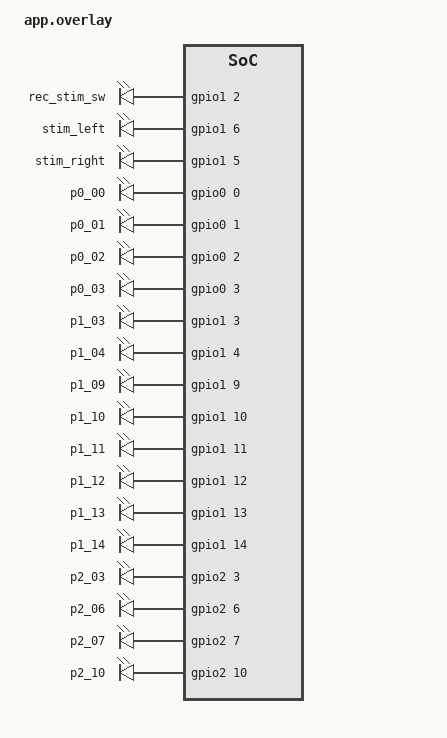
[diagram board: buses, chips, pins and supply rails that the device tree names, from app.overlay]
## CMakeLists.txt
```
cmake_minimum_required(VERSION 3.20.0)
list(APPEND BOARD_ROOT ${CMAKE_CURRENT_SOURCE_DIR}/../)
find_package(Zephyr REQUIRED HINTS $ENV{ZEPHYR_BASE})

project(grompack_firmware)

target_sources(app PRIVATE src/main.c src/timer.c src/saadc.c src/gppi.c src/ble.c src/stimulation.c src/commands.c src/config.c)
```

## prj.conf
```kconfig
CONFIG_REBOOT=y
CONFIG_POWEROFF=y
CONFIG_HEAP_MEM_POOL_SIZE=24576
CONFIG_GPIO=y
CONFIG_LOG=n
CONFIG_CONSOLE=n
CONFIG_UART_CONSOLE=n
CONFIG_RTT_CONSOLE=n
CONFIG_USE_SEGGER_RTT=n
CONFIG_SERIAL=n
CONFIG_MAIN_THREAD_PRIORITY=8

CONFIG_NRFX_PWM=y
CONFIG_NRFX_SAADC=y
CONFIG_NRFX_GPPI=y
CONFIG_NRFX_TIMER=y

CONFIG_BT=y
CONFIG_BT_PERIPHERAL=y
CONFIG_BT_DEVICE_NAME="grompack"
CONFIG_BT_NUS=y
CONFIG_BT_L2CAP_TX_MTU=247
CONFIG_BT_BUF_ACL_TX_SIZE=251
CONFIG_BT_BUF_ACL_RX_SIZE=251
CONFIG_BT_CTLR_DATA_LENGTH_MAX=251
CONFIG_BT_ZEPHYR_NUS=y
CONFIG_BT_USER_PHY_UPDATE=y
CONFIG_BT_USER_DATA_LEN_UPDATE=y
CONFIG_BT_PERIPHERAL_PREF_MIN_INT=6
CONFIG_BT_PERIPHERAL_PREF_MAX_INT=9
CONFIG_BT_CTLR_PHY_2M=y
CONFIG_BT_PERIPHERAL_PREF_LATENCY=0
CONFIG_BT_PERIPHERAL_PREF_TIMEOUT=200
CONFIG_BT_BUF_ACL_TX_COUNT=16
CONFIG_BT_CONN_TX_MAX=16
CONFIG_BT_ATT_TX_COUNT=16
CONFIG_BT_L2CAP_TX_BUF_COUNT=20
CONFIG_BT_BUF_EVT_RX_COUNT=20
CONFIG_BT_HCI_VS=y
CONFIG_BT_CTLR_TX_PWR_DYNAMIC_CONTROL=y
```

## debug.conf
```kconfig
CONFIG_REBOOT=y
CONFIG_POWEROFF=y
CONFIG_HEAP_MEM_POOL_SIZE=4096
CONFIG_GPIO=y
CONFIG_LOG=y
CONFIG_USE_SEGGER_RTT=y
CONFIG_LOG_BACKEND_RTT=y
CONFIG_LOG_BACKEND_UART=n
CONFIG_LOG_MODE_IMMEDIATE=y
CONFIG_RTT_CONSOLE=y
CONFIG_CONSOLE=y
CONFIG_PRINTK=y

CONFIG_NRFX_PWM=y
CONFIG_NRFX_SAADC=y
CONFIG_NRFX_GPPI=y
CONFIG_NRFX_TIMER=y

CONFIG_BT=y
CONFIG_BT_PERIPHERAL=y
CONFIG_BT_DEVICE_NAME="grompack"
CONFIG_BT_NUS=y
CONFIG_BT_L2CAP_TX_MTU=247
CONFIG_BT_BUF_ACL_TX_SIZE=251
CONFIG_BT_BUF_ACL_RX_SIZE=251
CONFIG_BT_CTLR_DATA_LENGTH_MAX=251
CONFIG_BT_ZEPHYR_NUS=y
CONFIG_BT_USER_PHY_UPDATE=y
CONFIG_BT_USER_DATA_LEN_UPDATE=y
CONFIG_BT_ATT_TX_COUNT=4
CONFIG_BT_CONN_TX_MAX=10
CONFIG_BT_PERIPHERAL_PREF_MIN_INT=24
CONFIG_BT_PERIPHERAL_PREF_MAX_INT=32
CONFIG_BT_CTLR_PHY_2M=y
CONFIG_BT_PERIPHERAL_PREF_LATENCY=10
CONFIG_BT_PERIPHERAL_PREF_TIMEOUT=400
CONFIG_BT_L2CAP_TX_BUF_COUNT=10
```

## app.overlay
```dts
#include <zephyr/dt-bindings/gpio/gpio.h>

/ {
    module_gpios {
        compatible = "gpio-leds";
        rec_stim_sw: rec_stim_sw { gpios = <&gpio1 2 GPIO_ACTIVE_HIGH>; };
        stim_left: stim_left { gpios = <&gpio1 6 GPIO_ACTIVE_HIGH>; };
        stim_right: stim_right { gpios = <&gpio1 5 GPIO_ACTIVE_HIGH>; };

        p0_00: p0_00 { gpios = <&gpio0 0 GPIO_ACTIVE_HIGH>; };
        p0_01: p0_01 { gpios = <&gpio0 1 GPIO_ACTIVE_HIGH>; };
        p0_02: p0_02 { gpios = <&gpio0 2 GPIO_ACTIVE_HIGH>; };
        p0_03: p0_03 { gpios = <&gpio0 3 GPIO_ACTIVE_HIGH>; };

        p1_03: p1_03 { gpios = <&gpio1 3 GPIO_ACTIVE_HIGH>; };
        p1_04: p1_04 { gpios = <&gpio1 4 GPIO_ACTIVE_HIGH>; };

        p1_09: p1_09 { gpios = <&gpio1 9 GPIO_ACTIVE_HIGH>; };
        p1_10: p1_10 { gpios = <&gpio1 10 GPIO_ACTIVE_HIGH>; };
        p1_11: p1_11 { gpios = <&gpio1 11 GPIO_ACTIVE_HIGH>; };
        p1_12: p1_12 { gpios = <&gpio1 12 GPIO_ACTIVE_HIGH>; };
        p1_13: p1_13 { gpios = <&gpio1 13 GPIO_ACTIVE_HIGH>; };
        p1_14: p1_14 { gpios = <&gpio1 14 GPIO_ACTIVE_HIGH>; };

        p2_03: p2_03 { gpios = <&gpio2 3 GPIO_ACTIVE_HIGH>; };
        p2_06: p2_06 { gpios = <&gpio2 6 GPIO_ACTIVE_HIGH>; };
        p2_07: p2_07 { gpios = <&gpio2 7 GPIO_ACTIVE_HIGH>; };
        p2_10: p2_10 { gpios = <&gpio2 10 GPIO_ACTIVE_HIGH>;};

    };
};

&gpiote20 {
    status = "okay";
};

&gpiote30 {
    status = "okay";
};


&gpio0 {
    status = "okay";
};

&gpio1 {
    status = "okay";
};

&gpio2 {
    status = "okay";
};
```

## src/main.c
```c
#include <zephyr/kernel.h>
#include <zephyr/logging/log.h>

#include "peripherals.h"

LOG_MODULE_REGISTER(grompack_logger, LOG_LEVEL_DBG);
K_MEM_SLAB_DEFINE(ble_payload_slab, sizeof(struct neural_packet), 240, 4);
K_FIFO_DEFINE(ble_pointer_fifo);
K_MSGQ_DEFINE(command_queue, sizeof(uint8_t), 10, 4);
K_THREAD_DEFINE(command_thread_id, 1024, command_thread_entry, NULL, NULL, NULL,
                7, 0, 0);

int main(void) {
    int err;

    setup_unused_pins();
    configure_stimulation();
    configure_timer();
    configure_saadc();
    configure_ppi();
    configure_ble();

    struct neural_packet* tx_packet;

    while (1) {
        tx_packet = k_fifo_get(&ble_pointer_fifo, K_FOREVER);

        if (is_laptop_subscribed) {
            err = bt_nus_send(NULL, (uint8_t*)&tx_packet->sample_index,
                              sizeof(uint32_t) + PACKED_BUFFER_SIZE);

            if (err == -ENOMEM) {
                LOG_WRN("TX queue full, dropping packet (sample %u)",
                        tx_packet->sample_index);
            } else if (err != 0 && err != -EAGAIN) {
                LOG_ERR("bt_nus_send fatal error: %d", err);
            }
        }

        k_mem_slab_free(&ble_payload_slab, (void*)tx_packet);
    }
}
```

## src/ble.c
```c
#include <zephyr/bluetooth/bluetooth.h>
#include <zephyr/bluetooth/hci.h>
#include <zephyr/bluetooth/hci_vs.h>
#include <zephyr/bluetooth/services/nus.h>
#include <zephyr/kernel.h>
#include <zephyr/logging/log.h>

#include "peripherals.h"

LOG_MODULE_DECLARE(grompack_logger, LOG_LEVEL_DBG);

#define DEVICE_NAME CONFIG_BT_DEVICE_NAME
#define DEVICE_NAME_LEN (sizeof(DEVICE_NAME) - 1)

volatile bool is_laptop_subscribed = false;

extern struct k_msgq command_queue;

static struct k_work adv_work;

static const struct bt_data ad[] = {
    BT_DATA_BYTES(BT_DATA_FLAGS, (BT_LE_AD_GENERAL | BT_LE_AD_NO_BREDR)),
    BT_DATA(BT_DATA_NAME_COMPLETE, DEVICE_NAME, DEVICE_NAME_LEN),
};

static const struct bt_data sd[] = {
    BT_DATA_BYTES(BT_DATA_UUID128_ALL, BT_UUID_NUS_SRV_VAL),
};

static void adv_work_handler(struct k_work* work) {
    int err =
        bt_le_adv_start(BT_LE_ADV_PARAM(BT_LE_ADV_OPT_CONN, 800, 800, NULL), ad,
                        ARRAY_SIZE(ad), sd, ARRAY_SIZE(sd));
    if (err) {
        LOG_ERR("Failed to restart advertising (err %d)", err);
    } else {
        LOG_INF("Advertising successfully restarted.");
    }
}

static void notif_enabled(bool enabled, void* ctx) {
    ARG_UNUSED(ctx);
    LOG_INF("Laptop Subscription: %s", (enabled ? "Enabled" : "Disabled"));

    is_laptop_subscribed = enabled;

    if (!enabled) {
        uint8_t stop_cmd = 0x02;
        k_msgq_put(&command_queue, &stop_cmd, K_NO_WAIT);
    }
}

static void received(struct bt_conn* conn, const void* data, uint16_t len,
                     void* ctx) {
    ARG_UNUSED(conn);
    ARG_UNUSED(ctx);

    if (len == 0) return;

    uint8_t command = ((const uint8_t*)data)[0];

    LOG_INF("command received: 0x%02x", command);

    k_msgq_put(&command_queue, &command, K_NO_WAIT);
}

struct bt_nus_cb nus_listener = {
    .notif_enabled = notif_enabled,
    .received = received,
};

static void set_tx_power(uint8_t handle_type, uint16_t handle, int8_t dbm) {
    struct bt_hci_cp_vs_write_tx_power_level* cp;
    struct net_buf *buf, *rsp = NULL;
    int err;

    buf = bt_hci_cmd_alloc(K_FOREVER);

    if (!buf) {
        LOG_ERR("Failed to create HCI cmd buffer");
        return;
    }

    cp = net_buf_add(buf, sizeof(*cp));
    cp->handle_type = handle_type;
    cp->handle = handle;
    cp->tx_power_level = dbm;

    err = bt_hci_cmd_send_sync(BT_HCI_OP_VS_WRITE_TX_POWER_LEVEL, buf, &rsp);

    if (err) {
        LOG_ERR("TX power set failed (err %d)", err);
    } else {
        LOG_INF("TX power set to %d dBm (handle_type=%d)", dbm, handle_type);
    }

    if (rsp) {
        net_buf_unref(rsp);
    }
}

void configure_ble(void) {
    int err;

    k_work_init(&adv_work, adv_work_handler);

    err = bt_enable(NULL);
    if (err) {
        LOG_ERR("BLE init failed (err %d)", err);
        return;
    }

    set_tx_power(BT_HCI_VS_LL_HANDLE_TYPE_ADV, 0, -20);

    err = bt_nus_cb_register(&nus_listener, NULL);
    if (err) {
        LOG_ERR("NUS callbacks failed to register (err %d)", err);
        return;
    }

    err = bt_le_adv_start(BT_LE_ADV_PARAM(BT_LE_ADV_OPT_CONN, 800, 800, NULL),
                          ad, ARRAY_SIZE(ad), sd, ARRAY_SIZE(sd));

    if (err) {
        LOG_ERR("Advertising failed to start (err %d)", err);
        return;
    }

    LOG_INF("Bluetooth initialized and advertising successfully.");
}

static void on_connected(struct bt_conn* conn, uint8_t err) {
    if (err) {
        LOG_ERR("Connection failed, err 0x%02x", err);
        return;
    }
    LOG_INF("Connected! 0x%02x", err);

    uint16_t hci_handle;
    int hci_err = bt_hci_get_conn_handle(conn, &hci_handle);

    if (hci_err == 0) {
        set_tx_power(BT_HCI_VS_LL_HANDLE_TYPE_CONN, hci_handle, -20);
    } else {
        LOG_WRN("Failed to get HCI handle for TX power adjustment");
    }

    bt_conn_le_data_len_update(conn, BT_LE_DATA_LEN_PARAM_MAX);
    bt_conn_le_phy_update(conn, BT_CONN_LE_PHY_PARAM_2M);
}

static void on_disconnected(struct bt_conn* conn, uint8_t reason) {
    LOG_INF("Disconnected, reason 0x%02x", reason);

    is_laptop_subscribed = false;

    uint8_t stop_cmd = 0x02;
    k_msgq_put(&command_queue, &stop_cmd, K_NO_WAIT);

    k_work_submit(&adv_work);
}

BT_CONN_CB_DEFINE(conn_callbacks) = {
    .connected = on_connected,
    .disconnected = on_disconnected,
};
```

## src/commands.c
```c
#include <zephyr/kernel.h>
#include <zephyr/logging/log.h>

#include "peripherals.h"

LOG_MODULE_DECLARE(grompack_logger, LOG_LEVEL_DBG);

void command_thread_entry(void* param1, void* param2, void* param3) {
    ARG_UNUSED(param1);
    ARG_UNUSED(param2);
    ARG_UNUSED(param3);

    uint8_t incoming_command;

    while (1) {
        if (k_msgq_get(&command_queue, &incoming_command, K_FOREVER) == 0) {
            LOG_INF("Processing command: 0x%02x", incoming_command);
            switch (incoming_command) {
                case 0x01:
                    LOG_INF("start data collection");
                    start_hardware_pipeline();
                    break;
                case 0x02:
                    LOG_INF("stop data collection");
                    stop_hardware_pipeline();
                    break;
                case 0x03:
                    LOG_INF("turn on pwm continuous");
                    set_stimulation_continuous(true);
                    break;
                case 0x04:
                    LOG_INF("turn off pwm continous");
                    set_stimulation_continuous(false);
                    break;
                case 0x05:
                    LOG_INF("set pwm burst");
                    uint32_t time = 3;
                    uint32_t frequency = 1000;
                    set_stimulation_burst(time, frequency);
                    break;
                case 0x06:
                    LOG_INF("power off");
                    system_off();
                    break;
                default:
                    LOG_WRN("Unknown command received: 0x%02x",
                            incoming_command);
            }
        }
    }
}
```

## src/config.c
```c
#include <zephyr/drivers/gpio.h>
#include <zephyr/kernel.h>
#include <zephyr/logging/log.h>
#include <zephyr/sys/poweroff.h>

#include "peripherals.h"

LOG_MODULE_DECLARE(grompack_logger, LOG_LEVEL_DBG);

const struct device* gpio0 = DEVICE_DT_GET(DT_NODELABEL(gpio0));
const struct device* gpio1 = DEVICE_DT_GET(DT_NODELABEL(gpio1));
const struct device* gpio2 = DEVICE_DT_GET(DT_NODELABEL(gpio2));

void setup_unused_pins(void) {
    if (!device_is_ready(gpio0) || !device_is_ready(gpio1) ||
        !device_is_ready(gpio2)) {
        return;
    }

    gpio_pin_configure(gpio0, 0, GPIO_DISCONNECTED);
    gpio_pin_configure(gpio0, 1, GPIO_DISCONNECTED);
    gpio_pin_configure(gpio0, 2, GPIO_DISCONNECTED);
    gpio_pin_configure(gpio0, 3, GPIO_DISCONNECTED);

    gpio_pin_configure(gpio1, 2, GPIO_DISCONNECTED);
    gpio_pin_configure(gpio1, 3, GPIO_DISCONNECTED);
    gpio_pin_configure(gpio1, 4, GPIO_DISCONNECTED);
    gpio_pin_configure(gpio1, 9, GPIO_DISCONNECTED);
    gpio_pin_configure(gpio1, 10, GPIO_DISCONNECTED);
    gpio_pin_configure(gpio1, 11, GPIO_DISCONNECTED);
    gpio_pin_configure(gpio1, 12, GPIO_DISCONNECTED);
    gpio_pin_configure(gpio1, 13, GPIO_DISCONNECTED);
    gpio_pin_configure(gpio1, 14, GPIO_DISCONNECTED);

    gpio_pin_configure(gpio2, 3, GPIO_DISCONNECTED);
    gpio_pin_configure(gpio2, 6, GPIO_DISCONNECTED);
    gpio_pin_configure(gpio2, 7, GPIO_DISCONNECTED);
    gpio_pin_configure(gpio2, 10, GPIO_DISCONNECTED);
}

void system_off(void) {
    LOG_INF("Power off ...");
    sys_poweroff();
}
```

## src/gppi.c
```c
#include <helpers/nrfx_gppi.h>
#include <nrfx_saadc.h>
#include <nrfx_timer.h>
#include <zephyr/kernel.h>
#include <zephyr/logging/log.h>

#include "peripherals.h"

LOG_MODULE_DECLARE(grompack_logger, LOG_LEVEL_DBG);

void configure_ppi(void) {
    int err;

    nrfx_gppi_handle_t gppi_handle_sample;
    nrfx_gppi_handle_t gppi_handle_start;

    err = nrfx_gppi_conn_alloc(
        nrfx_timer_compare_event_address_get(&timer_instance,
                                             NRF_TIMER_CC_CHANNEL0),
        nrf_saadc_task_address_get(NRF_SAADC, NRF_SAADC_TASK_SAMPLE),
        &gppi_handle_sample);
    if (err != 0) {
        LOG_ERR("nrfx_gppi_conn_alloc error: %08x", err);
        return;
    }

    err = nrfx_gppi_conn_alloc(
        nrf_saadc_event_address_get(NRF_SAADC, NRF_SAADC_EVENT_END),
        nrf_saadc_task_address_get(NRF_SAADC, NRF_SAADC_TASK_START),
        &gppi_handle_start);
    if (err != 0) {
        LOG_ERR("nrfx_gppi_conn_alloc error: %08x", err);
        return;
    }

    nrfx_gppi_conn_enable(gppi_handle_sample);
    nrfx_gppi_conn_enable(gppi_handle_start);
}
```

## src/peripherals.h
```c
#ifndef PERIPHERALS_H
#define PERIPHERALS_H

#include <nrfx_timer.h>
#include <stdbool.h>
#include <zephyr/bluetooth/services/nus.h>
#include <zephyr/kernel.h>

#define PACKED_BUFFER_SIZE 240

#define SAADC_SAMPLE_INTERVAL_US 83
#define SAADC_BUFFER_SIZE 160
#define SAADC_INPUT_PIN_0 NRFX_ANALOG_EXTERNAL_AIN4
#define SAADC_INPUT_PIN_1 NRFX_ANALOG_EXTERNAL_AIN5
#define SAADC_TIMER_INST_IDX 20
#define PWM_INST_IDX 20
#define NRF54_SAADC_ACQTIME_US(us) (((us * 1000) / 125) - 1)

#define STIM_LEFT_NODE DT_NODELABEL(stim_left)
#define STIM_LEFT_PORT DT_PROP(DT_GPIO_CTLR(STIM_LEFT_NODE, gpios), port)
#define STIM_LEFT_PIN DT_GPIO_PIN(STIM_LEFT_NODE, gpios)

#define STIM_LEFT_ABS_PIN ((STIM_LEFT_PORT * 32) + STIM_LEFT_PIN)

#define STIM_RIGHT_NODE DT_NODELABEL(stim_right)
#define STIM_RIGHT_PORT DT_PROP(DT_GPIO_CTLR(STIM_RIGHT_NODE, gpios), port)
#define STIM_RIGHT_PIN DT_GPIO_PIN(STIM_RIGHT_NODE, gpios)

#define STIM_RIGHT_ABS_PIN ((STIM_RIGHT_PORT * 32) + STIM_RIGHT_PIN)

extern nrfx_timer_t timer_instance;

struct neural_packet {
    void* fifo_reserved;
    uint32_t sample_index;
    uint8_t packed_data[PACKED_BUFFER_SIZE];
} __packed;

extern struct k_fifo ble_pointer_fifo;
extern struct k_mem_slab ble_payload_slab;
extern struct k_msgq command_queue;

extern volatile bool is_laptop_subscribed;

void setup_unused_pins(void);
void system_off(void);
void configure_stimulation(void);
void configure_ble(void);
void command_thread_entry(void* param1, void* param2, void* param3);
void configure_timer(void);
void configure_saadc(void);
void configure_ppi(void);
void start_hardware_pipeline(void);
void stop_hardware_pipeline(void);
void purge_pipeline(void);
void set_stimulation_continuous(bool start_pwm);
void set_stimulation_burst(uint32_t duration_ms, uint32_t frequency_hz);

#endif
```

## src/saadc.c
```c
#include <nrfx_saadc.h>
#include <zephyr/kernel.h>
#include <zephyr/logging/log.h>

#include "peripherals.h"

LOG_MODULE_DECLARE(grompack_logger, LOG_LEVEL_DBG);

static struct neural_packet* current_tx_packet = NULL;
static uint16_t byte_fill_count = 0;
static uint32_t global_sample_counter = 0;

static nrfx_saadc_channel_t channels[2] = {
    NRFX_SAADC_DEFAULT_CHANNEL_SE(SAADC_INPUT_PIN_0, 0),
    NRFX_SAADC_DEFAULT_CHANNEL_SE(SAADC_INPUT_PIN_1, 1)};

static int16_t saadc_sample_buffer[2][SAADC_BUFFER_SIZE];

static uint32_t saadc_current_buffer = 0;

void purge_pipeline(void) {
    if (current_tx_packet != NULL) {
        k_mem_slab_free(&ble_payload_slab, (void*)current_tx_packet);
        current_tx_packet = NULL;
    }

    byte_fill_count = 0;

    struct neural_packet* stale_packet;
    while ((stale_packet = k_fifo_get(&ble_pointer_fifo, K_NO_WAIT)) != NULL) {
        k_mem_slab_free(&ble_payload_slab, (void*)stale_packet);
    }

    LOG_INF("Pipeline flushed and memory returned to slab.");
}

void stop_hardware_pipeline(void) {
    LOG_INF("Halting hardware pipeline...");

    nrfx_timer_disable(&timer_instance);
    nrfx_timer_clear(&timer_instance);

    k_busy_wait(500);
    nrfx_saadc_abort();
    k_busy_wait(200);

    purge_pipeline();
}

void start_hardware_pipeline(void) {
    LOG_INF("Booting hardware pipeline...");

    global_sample_counter = 0;
    saadc_current_buffer = 0;
    byte_fill_count = 0;

    nrfx_saadc_buffer_set(saadc_sample_buffer[0], SAADC_BUFFER_SIZE);
    nrfx_saadc_buffer_set(saadc_sample_buffer[1], SAADC_BUFFER_SIZE);

    nrfx_saadc_mode_trigger();

    nrfx_timer_enable(&timer_instance);
}

static void saadc_event_handler(nrfx_saadc_evt_t const* p_event) {
    int err;
    switch (p_event->type) {
        case NRFX_SAADC_EVT_READY:
            break;

        case NRFX_SAADC_EVT_BUF_REQ:
            err = nrfx_saadc_buffer_set(
                saadc_sample_buffer[(saadc_current_buffer++) % 2],
                SAADC_BUFFER_SIZE);
            if (err != 0) {
                LOG_ERR("nrfx_saadc_buffer_set error: %08x", err);
                return;
            }
            break;
        case NRFX_SAADC_EVT_DONE: {
            if (current_tx_packet == NULL) {
                if (k_mem_slab_alloc(&ble_payload_slab,
                                     (void**)&current_tx_packet,
                                     K_NO_WAIT) != 0) {
                    global_sample_counter += (SAADC_BUFFER_SIZE / 2);
                    break;
                }
            }

            current_tx_packet->sample_index = global_sample_counter;

            int16_t* raw_data = (int16_t*)(p_event->data.done.p_buffer);

            for (int i = 0; i < (SAADC_BUFFER_SIZE / 2); i++) {
                uint16_t sample1 = (uint16_t)raw_data[i * 2] & 0x0FFF;
                uint16_t sample2 = (uint16_t)raw_data[i * 2 + 1] & 0x0FFF;

                current_tx_packet->packed_data[byte_fill_count++] =
                    sample1 & 0xFF;
                current_tx_packet->packed_data[byte_fill_count++] =
                    ((sample1 >> 8) & 0x0F) | ((sample2 << 4) & 0xF0);
                current_tx_packet->packed_data[byte_fill_count++] =
                    (sample2 >> 4) & 0xFF;

                global_sample_counter++;

                if (byte_fill_count >= PACKED_BUFFER_SIZE) {
                    k_fifo_put(&ble_pointer_fifo, current_tx_packet);
                    current_tx_packet = NULL;
                    byte_fill_count = 0;
                }
            }
            break;
        }
        default:
            LOG_INF("saadc_event_handler default state");
            break;
    }
}

void configure_saadc(void) {
    int err;

    IRQ_CONNECT(NRFX_IRQ_NUMBER_GET(NRF_SAADC), IRQ_PRIO_LOWEST,
                nrfx_saadc_irq_handler, 0, 0);

    err = nrfx_saadc_init(NRFX_SAADC_DEFAULT_CONFIG_IRQ_PRIORITY);
    if (err != 0) {
        LOG_ERR("nrfx_saadc_init error: %08x", err);
        return;
    }

    channels[0].channel_config.gain = NRF_SAADC_GAIN1;
    channels[0].channel_config.acq_time = NRF54_SAADC_ACQTIME_US(3);
    channels[1].channel_config.gain = NRF_SAADC_GAIN1;
    channels[1].channel_config.acq_time = NRF54_SAADC_ACQTIME_US(3);

    err = nrfx_saadc_channels_config(channels, 2);
    if (err != 0) {
        LOG_ERR("nrfx_saadc_channels_config error: %08x", err);
        return;
    }

    nrfx_saadc_adv_config_t saadc_adv_config = NRFX_SAADC_DEFAULT_ADV_CONFIG;
    saadc_adv_config.oversampling = NRF_SAADC_OVERSAMPLE_4X;
    saadc_adv_config.burst = NRF_SAADC_BURST_ENABLED;

    err = nrfx_saadc_advanced_mode_set(BIT(0) | BIT(1),
                                       NRF_SAADC_RESOLUTION_12BIT,
                                       &saadc_adv_config, saadc_event_handler);

    if (err != 0) {
        LOG_ERR("nrfx_saadc_advanced_mode_set error: %08x", err);
        return;
    }
}
```

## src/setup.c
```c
// #include <zephyr/drivers/gpio.h>
// #include <zephyr/kernel.h>
// #include <zephyr/logging/log.h>

// #include "peripherals.h"

// LOG_MODULE_DECLARE(grompack_logger, LOG_LEVEL_DBG);

// static const struct gpio_dt_spec p0_00 =
//     GPIO_DT_SPEC_GET(DT_NODELABEL(p0_00), gpios);

// void setup(void) {
//     int err;

//     const struct device* p0_00 = DEVICE_DT_GET(DT_NODELABEL(p0_00));
//     const struct device* p0_00 = DEVICE_DT_GET(DT_NODELABEL(p0_00));
//     const struct device* p0_00 = DEVICE_DT_GET(DT_NODELABEL(p0_00));
//     const struct device* p0_00 = DEVICE_DT_GET(DT_NODELABEL(p0_00));
//     const struct device* p0_00 = DEVICE_DT_GET(DT_NODELABEL(p0_00));

//     if (!gpio_is_ready_dt(&rec_stim_sw)) {
//         LOG_INF("REC_STIM_SW GPIO not ready");
//     }
// }
```

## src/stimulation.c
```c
#include <nrfx_pwm.h>
#include <stdbool.h>
#include <zephyr/drivers/gpio.h>
#include <zephyr/kernel.h>
#include <zephyr/logging/log.h>

#include "peripherals.h"

LOG_MODULE_DECLARE(grompack_logger, LOG_LEVEL_DBG);

static const struct gpio_dt_spec rec_stim_sw =
    GPIO_DT_SPEC_GET(DT_NODELABEL(rec_stim_sw), gpios);

static const struct gpio_dt_spec stim_right =
    GPIO_DT_SPEC_GET(DT_NODELABEL(stim_right), gpios);

static const struct gpio_dt_spec stim_left =
    GPIO_DT_SPEC_GET(DT_NODELABEL(stim_left), gpios);

static nrfx_pwm_t pwm_instance =
    NRFX_PWM_INSTANCE(NRF_PWM_INST_GET(PWM_INST_IDX));

static nrf_pwm_values_common_t seq_values[] = {500};

static nrf_pwm_sequence_t seq = {.values.p_common = seq_values,
                                 .length = NRFX_ARRAY_SIZE(seq_values),
                                 .repeats = 0,
                                 .end_delay = 0};

static void pwm_event_handler(nrfx_pwm_event_type_t event_type,
                              void* p_context) {
    if (event_type == NRFX_PWM_EVENT_STOPPED) {
        gpio_pin_set_dt(&rec_stim_sw, 0);
        LOG_INF("PWM Burst complete, switch pulled low.");
    }
}

void set_stimulation_continuous(bool start_pwm) {
    if (start_pwm) {
        gpio_pin_configure_dt(&rec_stim_sw, GPIO_OUTPUT_HIGH);
        nrfx_pwm_simple_playback(&pwm_instance, &seq, 1, NRFX_PWM_FLAG_LOOP);
        LOG_INF("Stimulation PWM Started");
    } else {
        nrfx_pwm_stop(&pwm_instance, false);
        gpio_pin_configure_dt(&rec_stim_sw, GPIO_OUTPUT_LOW);
        LOG_INF("Stimulation PWM Stopped");
    }
}

void set_stimulation_burst(uint32_t duration_ms, uint32_t frequency_hz) {
    uint16_t top_value = 1000000 / frequency_hz;
    seq_values[0] = top_value / 2;

    nrf_pwm_configure(pwm_instance.p_reg, NRF_PWM_CLK_1MHz, NRF_PWM_MODE_UP,
                      top_value);

    uint32_t total_cycles = (frequency_hz * duration_ms) / 1000;

    LOG_INF("Starting PWM Burst: %u ms at %u Hz (%u cycles)", duration_ms,
            frequency_hz, total_cycles);

    gpio_pin_set_dt(&rec_stim_sw, 1);

    nrfx_pwm_simple_playback(&pwm_instance, &seq, total_cycles,
                             NRFX_PWM_FLAG_STOP);
}

void configure_stimulation(void) {
    int err;

    if (!gpio_is_ready_dt(&rec_stim_sw) || !gpio_is_ready_dt(&stim_right) ||
        !gpio_is_ready_dt(&stim_left)) {
        LOG_ERR("One or more stimulation GPIOs not ready");
        return;
    }

    err = gpio_pin_configure_dt(&rec_stim_sw, GPIO_OUTPUT_INACTIVE);
    if (err < 0) {
        LOG_ERR("REC_STIM_SW GPIO config error (%d)", err);
    }

    nrfx_pwm_config_t config = NRFX_PWM_DEFAULT_CONFIG(
        STIM_LEFT_ABS_PIN, STIM_RIGHT_ABS_PIN, NRF_PWM_PIN_NOT_CONNECTED,
        NRF_PWM_PIN_NOT_CONNECTED);

    config.base_clock = NRF_PWM_CLK_1MHz;
    config.top_value = 1000;
    config.load_mode = NRF_PWM_LOAD_COMMON;

    err = nrfx_pwm_init(&pwm_instance, &config, pwm_event_handler, NULL);
    if (err) {
        LOG_INF("error: %08x", err);
    }
}
```

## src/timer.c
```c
#include <nrfx_saadc.h>
#include <nrfx_timer.h>
#include <zephyr/kernel.h>
#include <zephyr/logging/log.h>

#include "peripherals.h"

LOG_MODULE_DECLARE(grompack_logger, LOG_LEVEL_DBG);

nrfx_timer_t timer_instance =
    NRFX_TIMER_INSTANCE(NRF_TIMER_INST_GET(SAADC_TIMER_INST_IDX));

void configure_timer(void) {
    int err;

    uint32_t base_frequency =
        NRF_TIMER_BASE_FREQUENCY_GET(timer_instance.p_reg);
    nrfx_timer_config_t timer_config =
        NRFX_TIMER_DEFAULT_CONFIG(base_frequency);

    err = nrfx_timer_init(&timer_instance, &timer_config, NULL);
    if (err != 0) {
        LOG_ERR("nrfx_timer_init error: %08x", err);
        return;
    }
    uint32_t timer_ticks =
        nrfx_timer_us_to_ticks(&timer_instance, SAADC_SAMPLE_INTERVAL_US);
    nrfx_timer_extended_compare(&timer_instance, NRF_TIMER_CC_CHANNEL0,
                                timer_ticks,
                                NRF_TIMER_SHORT_COMPARE0_CLEAR_MASK, false);
    nrfx_timer_disable(&timer_instance);
}
```
